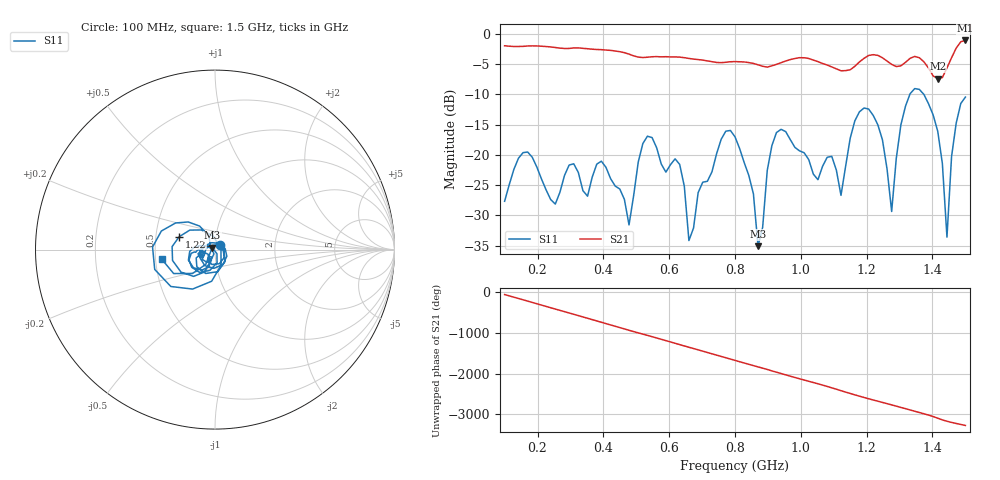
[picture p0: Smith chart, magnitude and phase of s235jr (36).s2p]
! NanoVNA-App
! Date: 2025-09-26 09:45:04
! Start: 100MHz Stop: 1,5GHz Points: 101
! S-Parameter data: F S11 S21 S12 S22
# Hz S RI R 50
!  Frequency  S11_Real  S11_Imag  S21_Real  S21_Imag  S12_Real  S12_Imag  S22_Real  S22_Imag
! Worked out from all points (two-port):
!   101 points, 100 MHz to 1.5 GHz, reference 50 ohm
!   highest |S21| = -1.08 dB at 1.5 GHz (marker M1); lowest = -7.4 dB at 1.416 GHz (marker M2)
!   |S21| within 3 dB of the highest: start of sweep to 663.4 MHz; 1.191 GHz to 1.252 GHz (60.49 MHz wide, 4.95 % of centre) (the widest 2 of 5)
!   lowest |S11| = -35.1 dB at 870 MHz (marker M3), VSWR 1.04, Z = 48.6 + j0.959 ohm
!   |S11| at or under -10 dB: start of sweep to 1.331 GHz; 1.374 GHz to end of sweep
!   S12 and S22 are empty: the file has one direction only
!   S11 on the Smith chart (normalised r, x): 100 MHz: 1.06, +0.06; 1.22 GHz: 0.66, +0.10; 1.5 GHz: 0.54, -0.07
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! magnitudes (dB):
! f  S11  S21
! 100 MHz  -27.7  -2.0
! 156 MHz  -19.6  -2.1
! 338 MHz  -25.9  -2.4
! 394 MHz  -21.0  -2.6
! 478 MHz  -31.6  -3.3
! 520 MHz  -18.1  -3.9
! 576 MHz  -21.5  -3.8
! 632 MHz  -21.6  -3.8
! 660 MHz  -34.2  -4.0
! 800 MHz  -17.0  -4.6
! 870 MHz  -35.1  -5.1
! 926 MHz  -16.3  -5.0
! 1.038 GHz  -23.2  -4.3
! 1.122 GHz  -26.7  -6.1
! 1.164 GHz  -14.4  -5.4
! 1.22 GHz  -13.5  -3.4
! 1.276 GHz  -29.3  -5.0
! 1.332 GHz  -9.9  -4.0
! 1.416 GHz  -16.1  -7.4
! 1.444 GHz  -33.6  -5.6
! 1.458 GHz  -20.3  -3.9
! 1.5 GHz  -10.4  -1.1
